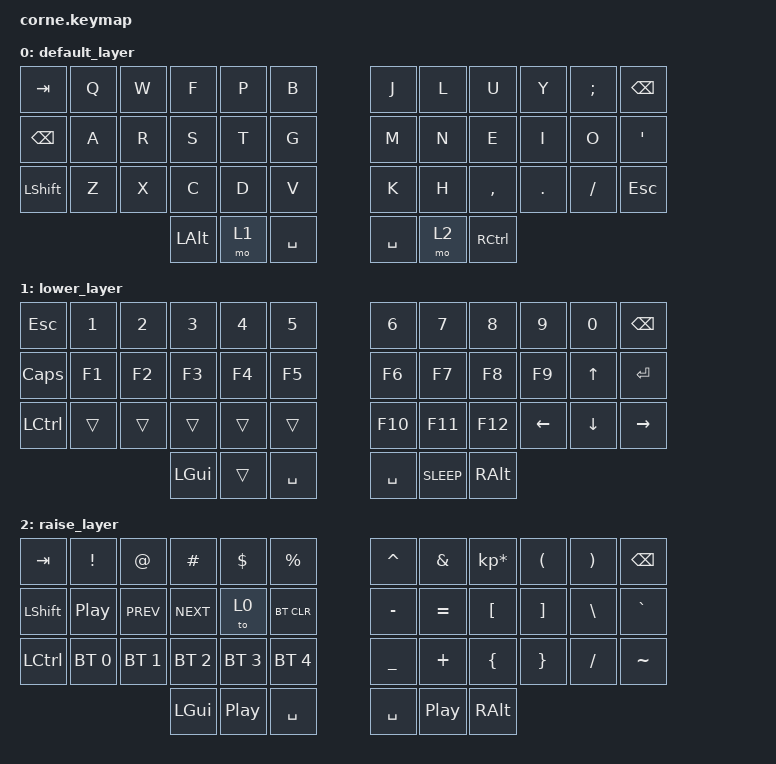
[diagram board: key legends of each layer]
/*
 * Copyright (c) 2020 The ZMK Contributors
 *
 * SPDX-License-Identifier: MIT
 */

#include <behaviors.dtsi>
#include <dt-bindings/zmk/bt.h>
#include <dt-bindings/zmk/keys.h>

/ {
    keymap {
        compatible = "zmk,keymap";

        default_layer {
            // -----------------------------------------------------------------------------------------
            // |  TAB |  Q  |  W  |  E  |  R  |  T  |   |  Y  |  U   |  I  |  O  |  P  | BKSP |
            // | SHFT |  A  |  S  |  D  |  F  |  G  |   |  H  |  J   |  K  |  L  |  ;  |  '   |
            // | CTRL |  Z  |  X  |  C  |  V  |  B  |   |  N  |  M   |  ,  |  .  |  /  | ESC  |
            //                    | GUI | LWR | SPC |   | SPC | RSE  | ALT |

            bindings = <
&kp TAB    &kp Q  &kp W  &kp F         &kp P  &kp B        &kp J      &kp L  &kp U              &kp Y    &kp SEMI  &kp BSPC
&kp BSPC   &kp A  &kp R  &kp S         &kp T  &kp G        &kp M      &kp N  &kp E              &kp I    &kp O     &kp SQT
&kp LSHIFT &kp Z  &kp X  &kp C         &kp D  &kp V        &kp K      &kp H  &kp COMMA          &kp DOT  &kp FSLH  &kp ESC
                          &kp LEFT_ALT  &mo 1  &kp SPACE    &kp SPACE  &mo 2  &kp RIGHT_CONTROL
            >;
        };

        lower_layer {
            // -----------------------------------------------------------------------------------------
            // |  TAB |  1  |  2  |  3  |  4  |  5  |   |  6  |  7  |  8  |  9  |  0  | BKSP |
            // | BTCLR| BT1 | BT2 | BT3 | BT4 | BT5 |   | LFT | DWN |  UP | RGT |     |      |
            // | SHFT |     |     |     |     |     |   |     |     |     |     |     |      |
            //                    | GUI |     | SPC |   | ENT |     | ALT |

            bindings = <
&kp ESCAPE        &kp N1        &kp N2        &kp N3        &kp N4        &kp N5          &kp N6     &kp N7   &kp N8    &kp N9    &kp N0        &kp BSPC
&kp CAPS            &kp F1        &kp F2        &kp F3        &kp F4        &kp F5          &kp F6     &kp F7   &kp F8    &kp F9    &kp UP_ARROW  &kp ENTER
&kp LEFT_CONTROL  &trans        &trans        &trans        &trans        &trans          &kp F10    &kp F11  &kp F12   &kp LEFT  &kp DOWN      &kp RIGHT
                                              &kp LGUI      &trans        &kp SPACE       &kp SPACE  &kp C_SLEEP   &kp RALT
            >;
        };

        raise_layer {
            // -----------------------------------------------------------------------------------------
            // |  TAB |  !  |  @  |  #  |  $  |  %  |   |  ^  |  &  |  *  |  (  |  )  | BKSP |
            // | CTRL |     |     |     |     |     |   |  -  |  =  |  [  |  ]  |  \  |  `   |
            // | SHFT |     |     |     |     |     |   |  _  |  +  |  {  |  }  | "|" |  ~   |
            //                    | GUI |     | SPC |   | ENT |     | ALT |

            bindings = <
&kp TAB           &kp EXCL      &kp AT        &kp HASH      &kp DLLR      &kp PRCNT    &kp CARET  &kp AMPS          &kp KP_MULTIPLY  &kp LPAR  &kp RPAR   &kp BSPC
&kp LSHIFT        &kp C_PLAY_PAUSE &kp C_PREV &kp C_NEXT    &to 0         &bt BT_CLR             &kp MINUS  &kp EQUAL         &kp LBKT         &kp RBKT  &kp BSLH   &kp GRAVE
&kp LEFT_CONTROL  &bt BT_SEL 0  &bt BT_SEL 1  &bt BT_SEL 2  &bt BT_SEL 3  &bt BT_SEL 4       &kp UNDER  &kp PLUS          &kp LBRC         &kp RBRC  &kp SLASH  &kp TILDE
                                    &kp LGUI  &kp C_PLAY_PAUSE    &kp SPACE    &kp SPACE  &kp C_PLAY_PAUSE  &kp RALT
            >;
        };
    };
};
